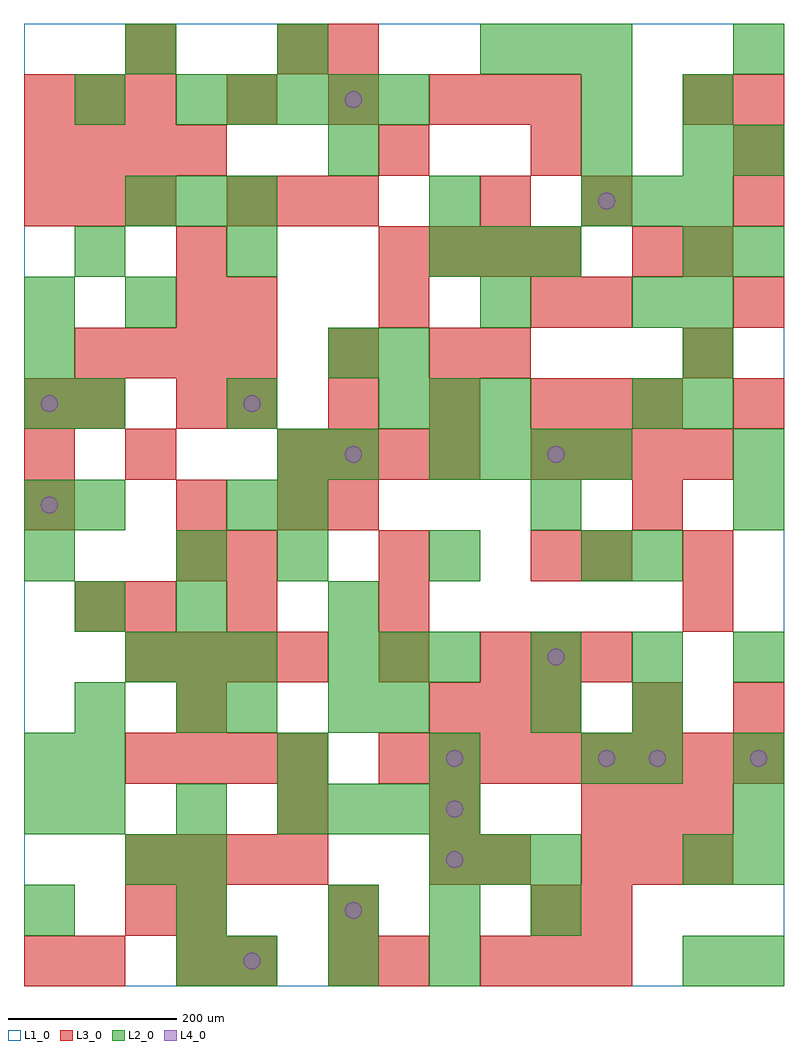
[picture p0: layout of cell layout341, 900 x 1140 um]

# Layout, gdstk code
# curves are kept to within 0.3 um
import gdstk
lib = gdstk.Library(unit=1e-6, precision=1e-09)
def R(c, l, rs):  # rectangles x0, y0, x1, y1
    for r in rs: c.add(gdstk.rectangle(r[:2], r[2:], *l))
def A(c, l, x, y, w, h, nx, ny, dx, dy):  # array of equal rectangles
    R(c, l, [(x+i*dx, y+j*dy, x+i*dx+w, y+j*dy+h) for i in range(nx) for j in range(ny)])
def P(c, l, *ps):  # polygons
    for p in ps: c.add(gdstk.Polygon(p, *l))
L1_0 = (1, 0)
L2_0 = (2, 0)
L3_0 = (3, 0)
L4_0 = (4, 0)

layout341 = lib.new_cell('layout341')
R(layout341, L1_0, [(0,0,900,1140)])
A(layout341, L2_0, 240, 0, 60, 60, 3, 1, 120, 0)
A(layout341, L2_0, 0, 60, 60, 60, 3, 1, 180, 0)
A(layout341, L2_0, 600, 60, 60, 60, 1, 3, 0, 240)
A(layout341, L2_0, 480, 120, 60, 60, 3, 2, 60, 720)
A(layout341, L2_0, 840, 120, 60, 60, 1, 3, 0, 60)
A(layout341, L2_0, 60, 180, 60, 60, 3, 1, 120, 0)
A(layout341, L2_0, 360, 180, 60, 60, 3, 2, 60, 180)
A(layout341, L2_0, 300, 240, 60, 60, 3, 2, 180, 240)
A(layout341, L2_0, 60, 300, 60, 60, 1, 3, 0, 120)
A(layout341, L2_0, 720, 300, 60, 60, 1, 3, 0, 180)
A(layout341, L2_0, 120, 360, 60, 60, 3, 2, 60, 540)
A(layout341, L2_0, 600, 360, 60, 60, 3, 1, 120, 0)
A(layout341, L2_0, 480, 600, 60, 60, 4, 1, 60, 0)
A(layout341, L2_0, 0, 660, 60, 60, 1, 3, 0, 60)
A(layout341, L2_0, 60, 660, 60, 60, 3, 1, 180, 0)
A(layout341, L2_0, 780, 660, 60, 60, 1, 4, 0, 60)
A(layout341, L2_0, 840, 840, 60, 60, 1, 3, 0, 120)
A(layout341, L2_0, 660, 900, 60, 60, 3, 1, 60, 0)
A(layout341, L2_0, 180, 1020, 60, 60, 5, 1, 60, 0)
A(layout341, L2_0, 540, 1080, 60, 60, 3, 1, 60, 0)
R(layout341, L2_0, [(180,0,240,60), (780,0,840,60), (840,0,900,60), (480,60,540,120), (120,120,180,180), (180,120,240,180), (780,120,840,180), (0,180,60,240), (0,240,60,300), (60,240,120,300), (720,240,780,300), (180,300,240,360), (240,300,300,360), (360,300,420,360), (420,300,480,360), (180,420,240,480), (360,420,420,480), (0,480,60,540), (180,480,240,540), (0,540,60,600), (240,540,300,600), (300,540,360,600), (840,540,900,600), (300,600,360,660), (360,600,420,660), (840,600,900,660), (480,660,540,720), (540,660,600,720), (360,720,420,780), (420,720,480,780), (120,780,180,840), (540,780,600,840), (720,780,780,840), (60,840,120,900), (240,840,300,900), (480,900,540,960), (360,960,420,1020), (660,960,720,1020), (780,960,840,1020), (60,1020,120,1080), (660,1020,720,1080), (780,1020,840,1080), (120,1080,180,1140), (300,1080,360,1140)])
A(layout341, L3_0, 540, 0, 60, 60, 3, 2, 60, 360)
A(layout341, L3_0, 120, 120, 60, 60, 4, 3, 60, 120)
A(layout341, L3_0, 660, 120, 60, 60, 3, 1, 60, 0)
A(layout341, L3_0, 300, 180, 60, 60, 3, 1, 180, 0)
A(layout341, L3_0, 420, 240, 60, 60, 8, 1, 60, 0)
A(layout341, L3_0, 480, 300, 60, 60, 3, 1, 60, 0)
A(layout341, L3_0, 240, 480, 60, 60, 3, 2, 180, 300)
A(layout341, L3_0, 0, 540, 60, 60, 1, 3, 0, 60)
A(layout341, L3_0, 180, 540, 60, 60, 1, 3, 0, 120)
A(layout341, L3_0, 300, 600, 60, 60, 4, 1, 60, 0)
A(layout341, L3_0, 600, 600, 60, 60, 4, 1, 60, 0)
A(layout341, L3_0, 240, 660, 60, 60, 4, 1, 120, 0)
A(layout341, L3_0, 660, 660, 60, 60, 1, 3, 0, 120)
A(layout341, L3_0, 840, 660, 60, 60, 1, 3, 0, 120)
A(layout341, L3_0, 60, 720, 60, 60, 4, 1, 60, 0)
A(layout341, L3_0, 420, 840, 60, 60, 4, 1, 60, 0)
A(layout341, L3_0, 0, 900, 60, 60, 3, 2, 60, 120)
A(layout341, L3_0, 240, 900, 60, 60, 3, 1, 60, 0)
A(layout341, L3_0, 0, 960, 60, 60, 4, 1, 60, 0)
A(layout341, L3_0, 240, 1020, 60, 60, 3, 1, 120, 0)
R(layout341, L3_0, [(0,0,60,60), (60,0,120,60), (180,0,240,60), (240,0,300,60), (360,0,420,60), (420,0,480,60), (120,60,180,120), (180,60,240,120), (360,60,420,120), (600,60,660,120), (660,60,720,120), (480,120,540,180), (540,120,600,180), (720,180,780,240), (780,180,840,240), (180,300,240,360), (720,300,780,360), (840,300,900,360), (420,360,480,420), (60,420,120,480), (120,420,180,480), (240,420,300,480), (420,420,480,480), (780,420,840,480), (180,480,240,540), (660,480,720,540), (780,480,840,540), (300,540,360,600), (360,540,420,600), (720,540,780,600), (120,600,180,660), (60,660,120,720), (720,660,780,720), (360,720,420,780), (480,720,540,780), (540,720,600,780), (780,720,840,780), (180,840,240,900), (720,840,780,900), (780,840,840,900), (540,900,600,960), (420,960,480,1020), (600,960,660,1020), (840,960,900,1020), (540,1020,600,1080), (600,1020,660,1080), (780,1020,840,1080), (840,1020,900,1080), (120,1080,180,1140), (300,1080,360,1140), (360,1080,420,1140)])
P(layout341, L4_0, [(40,570),(39.239,573.827),(37.071,577.071),(33.827,579.239),(30,580),(26.173,579.239),(22.929,577.071),(20.761,573.827),(20,570),(20.761,566.173),(22.929,562.929),(26.173,560.761),(30,560),(33.827,560.761),(37.071,562.929),(39.239,566.173)],
  [(40,690),(39.239,693.827),(37.071,697.071),(33.827,699.239),(30,700),(26.173,699.239),(22.929,697.071),(20.761,693.827),(20,690),(20.761,686.173),(22.929,682.929),(26.173,680.761),(30,680),(33.827,680.761),(37.071,682.929),(39.239,686.173)],
  [(280,30),(279.239,33.827),(277.071,37.071),(273.827,39.239),(270,40),(266.173,39.239),(262.929,37.071),(260.761,33.827),(260,30),(260.761,26.173),(262.929,22.929),(266.173,20.761),(270,20),(273.827,20.761),(277.071,22.929),(279.239,26.173)],
  [(280,690),(279.239,693.827),(277.071,697.071),(273.827,699.239),(270,700),(266.173,699.239),(262.929,697.071),(260.761,693.827),(260,690),(260.761,686.173),(262.929,682.929),(266.173,680.761),(270,680),(273.827,680.761),(277.071,682.929),(279.239,686.173)],
  [(400,90),(399.239,93.827),(397.071,97.071),(393.827,99.239),(390,100),(386.173,99.239),(382.929,97.071),(380.761,93.827),(380,90),(380.761,86.173),(382.929,82.929),(386.173,80.761),(390,80),(393.827,80.761),(397.071,82.929),(399.239,86.173)],
  [(400,630),(399.239,633.827),(397.071,637.071),(393.827,639.239),(390,640),(386.173,639.239),(382.929,637.071),(380.761,633.827),(380,630),(380.761,626.173),(382.929,622.929),(386.173,620.761),(390,620),(393.827,620.761),(397.071,622.929),(399.239,626.173)],
  [(400,1050),(399.239,1053.827),(397.071,1057.071),(393.827,1059.239),(390,1060),(386.173,1059.239),(382.929,1057.071),(380.761,1053.827),(380,1050),(380.761,1046.173),(382.929,1042.929),(386.173,1040.761),(390,1040),(393.827,1040.761),(397.071,1042.929),(399.239,1046.173)],
  [(520,150),(519.239,153.827),(517.071,157.071),(513.827,159.239),(510,160),(506.173,159.239),(502.929,157.071),(500.761,153.827),(500,150),(500.761,146.173),(502.929,142.929),(506.173,140.761),(510,140),(513.827,140.761),(517.071,142.929),(519.239,146.173)],
  [(520,210),(519.239,213.827),(517.071,217.071),(513.827,219.239),(510,220),(506.173,219.239),(502.929,217.071),(500.761,213.827),(500,210),(500.761,206.173),(502.929,202.929),(506.173,200.761),(510,200),(513.827,200.761),(517.071,202.929),(519.239,206.173)],
  [(520,270),(519.239,273.827),(517.071,277.071),(513.827,279.239),(510,280),(506.173,279.239),(502.929,277.071),(500.761,273.827),(500,270),(500.761,266.173),(502.929,262.929),(506.173,260.761),(510,260),(513.827,260.761),(517.071,262.929),(519.239,266.173)],
  [(640,390),(639.239,393.827),(637.071,397.071),(633.827,399.239),(630,400),(626.173,399.239),(622.929,397.071),(620.761,393.827),(620,390),(620.761,386.173),(622.929,382.929),(626.173,380.761),(630,380),(633.827,380.761),(637.071,382.929),(639.239,386.173)],
  [(640,630),(639.239,633.827),(637.071,637.071),(633.827,639.239),(630,640),(626.173,639.239),(622.929,637.071),(620.761,633.827),(620,630),(620.761,626.173),(622.929,622.929),(626.173,620.761),(630,620),(633.827,620.761),(637.071,622.929),(639.239,626.173)],
  [(700,270),(699.239,273.827),(697.071,277.071),(693.827,279.239),(690,280),(686.173,279.239),(682.929,277.071),(680.761,273.827),(680,270),(680.761,266.173),(682.929,262.929),(686.173,260.761),(690,260),(693.827,260.761),(697.071,262.929),(699.239,266.173)],
  [(700,930),(699.239,933.827),(697.071,937.071),(693.827,939.239),(690,940),(686.173,939.239),(682.929,937.071),(680.761,933.827),(680,930),(680.761,926.173),(682.929,922.929),(686.173,920.761),(690,920),(693.827,920.761),(697.071,922.929),(699.239,926.173)],
  [(760,270),(759.239,273.827),(757.071,277.071),(753.827,279.239),(750,280),(746.173,279.239),(742.929,277.071),(740.761,273.827),(740,270),(740.761,266.173),(742.929,262.929),(746.173,260.761),(750,260),(753.827,260.761),(757.071,262.929),(759.239,266.173)],
  [(880,270),(879.239,273.827),(877.071,277.071),(873.827,279.239),(870,280),(866.173,279.239),(862.929,277.071),(860.761,273.827),(860,270),(860.761,266.173),(862.929,262.929),(866.173,260.761),(870,260),(873.827,260.761),(877.071,262.929),(879.239,266.173)])

lib.write_gds('layout341.gds')
